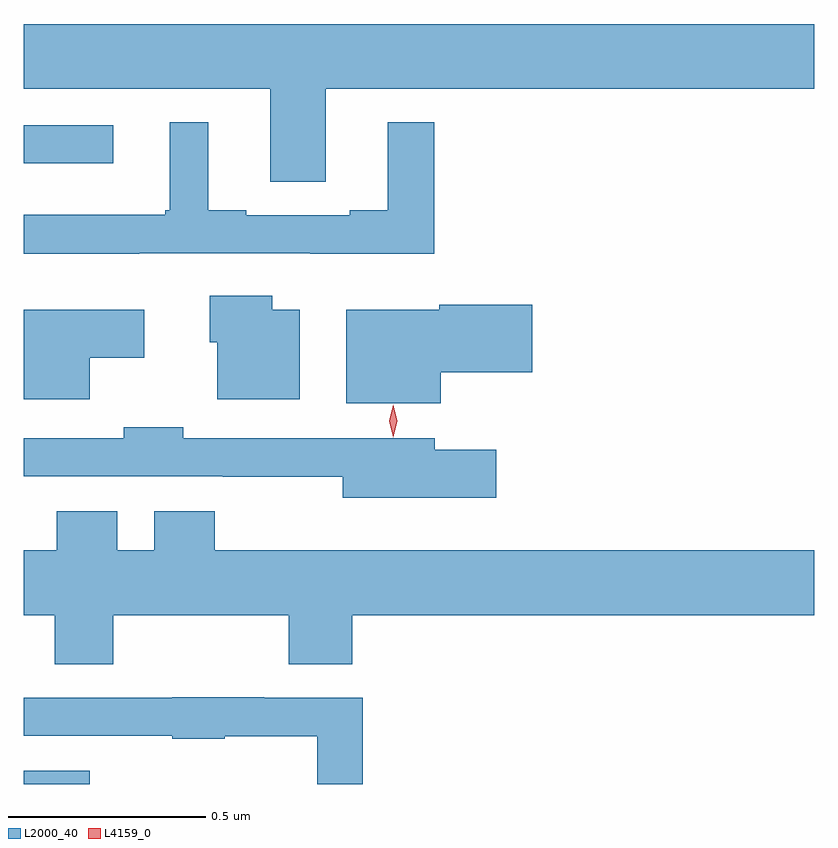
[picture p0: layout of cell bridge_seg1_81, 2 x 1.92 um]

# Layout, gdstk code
import gdstk
lib = gdstk.Library(unit=1e-6, precision=1e-09)
def R(c, l, rs):  # rectangles x0, y0, x1, y1
    for r in rs: c.add(gdstk.rectangle(r[:2], r[2:], *l))
def P(c, l, *ps):  # polygons
    for p in ps: c.add(gdstk.Polygon(p, *l))
L2000_40 = (2000, 40)
L4159_0 = (4159, 0)

bridge_seg1_81 = lib.new_cell('bridge_seg1_81')
R(bridge_seg1_81, L2000_40, [(602.435,515.341,602.602,515.374), (602.435,516.912,602.662,517.008)])
P(bridge_seg1_81, L2000_40, [(603.199,517.1),(604.435,517.1),(604.435,517.264),(602.435,517.264),(602.435,517.1),(603.059,517.1),(603.059,516.865),(603.199,516.865)],
  [(602.727,516.684),(603.16,516.684),(603.16,516.683),(603.473,516.683),(603.473,517.015),(603.356,517.015),(603.356,516.793),(603.26,516.793),(603.26,516.78),(602.998,516.78),(602.998,516.793),(602.902,516.793),(602.902,517.015),(602.804,517.015),(602.804,516.793),(602.793,516.793),(602.793,516.781),(602.435,516.781),(602.435,516.683),(602.727,516.683)],
  [(603.133,516.541),(603.064,516.541),(603.064,516.577),(602.906,516.577),(602.906,516.459),(602.924,516.459),(602.924,516.314),(603.133,516.314)],
  [(603.49,516.383),(603.721,516.383),(603.721,516.554),(603.486,516.554),(603.486,516.541),(603.251,516.541),(603.251,516.305),(603.49,516.305)],
  [(602.602,516.419),(602.74,516.419),(602.74,516.541),(602.435,516.541),(602.435,516.314),(602.602,516.314)],
  [(603.631,516.187),(603.475,516.187),(603.475,516.216),(602.838,516.216),(602.838,516.244),(602.688,516.244),(602.688,516.216),(602.435,516.216),(602.435,516.12),(602.938,516.12),(602.938,516.119),(603.242,516.119),(603.242,516.065),(603.631,516.065)],
  [(602.661,515.768),(603.106,515.768),(603.106,515.644),(603.266,515.644),(603.266,515.768),(604.435,515.768),(604.435,515.932),(602.918,515.932),(602.918,516.031),(602.765,516.031),(602.765,515.932),(602.671,515.932),(602.671,516.031),(602.519,516.031),(602.519,515.932),(602.435,515.932),(602.435,515.768),(602.513,515.768),(602.513,515.644),(602.661,515.644)],
  [(603.293,515.559),(603.043,515.559),(603.043,515.561),(602.811,515.561),(602.811,515.559),(602.435,515.559),(602.435,515.463),(602.811,515.463),(602.811,515.456),(602.943,515.456),(602.943,515.462),(603.177,515.462),(603.177,515.341),(603.293,515.341)])
P(bridge_seg1_81, L4159_0, [(603.37,516.219),(603.37,516.219),(603.36,516.26),(603.37,516.3),(603.37,516.3),(603.37,516.3),(603.38,516.26),(603.37,516.219)])

lib.write_gds('bridge_seg1_81.gds')
